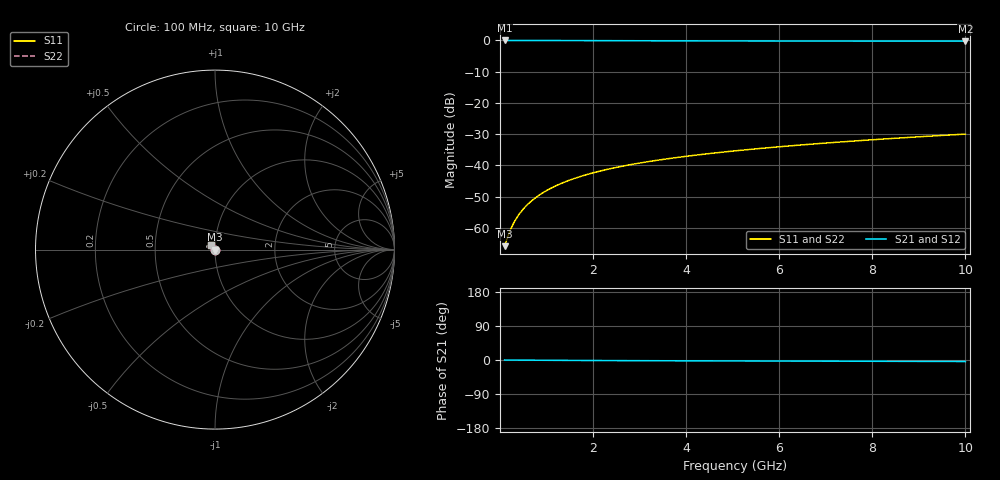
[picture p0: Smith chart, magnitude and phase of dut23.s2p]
! Touchstone file exported from HFSS 2024.1.0
!  File:  C:/UserFiles/LocalFiles/RDL_TSV_Batchsim/temp_TSV1_23_1779369263.aedt
!  Generated:  09:19:10 PM May 21, 2026
!  Design:  TSV1
!  Project:  temp_TSV1_23_1779369263
!  Setup:  Setup1
!  Solution:  Sweep
! Variables:
!  dtsv = 5.74um
!  hbump = 3um
!  htsv = 51.97um
!  lrdl = 252.1521522um
!  p = 40
!  p1 = 57.11um
!  t = 500um
!  trdl = 3um
!  wrdl = 24.89489489um
# GHz S MA R 50.000000
! Terminal data exported
! Port[1] = TSV22_T1
! Port[2] = TSV22_T2
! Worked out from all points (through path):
!   100 points, 100 MHz to 10 GHz, reference 50 ohm
!   highest |S21| = 0.00 dB at 100 MHz (marker M1); lowest = -0.2 dB at 10 GHz (marker M2)
!   lowest |S11| = -65.8 dB at 100 MHz (marker M3), VSWR 1.00, Z = 50 - j0.0408 ohm
!   |S11| at or under -10 dB: start of sweep to end of sweep
!   |S22| runs from -65.8 to -30.0 dB; largest |S21 - S12| = 0
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0.1  0.0005107 -52.9  0.9996 -0.1  0.9996 -0.1  0.0005107 -52.9
! Gamma 0 0 0 0
! Port Impedance 50 0 50 0
0.2  0.0008492 -73.5  0.9996 -0.2  0.9996 -0.2  0.0008492 -73.5
0.3  0.001225 -83.7  0.9995 -0.2  0.9995 -0.2  0.001225 -83.7
0.4  0.001613 -90.4  0.9993 -0.3  0.9993 -0.3  0.001613 -90.4
0.5  0.002005 -95.6  0.9991 -0.4  0.9991 -0.4  0.002005 -95.6
0.6  0.002399 -99.9  0.9989 -0.5  0.9989 -0.5  0.002399 -99.9
0.7  0.002791 -103.7  0.9986 -0.5  0.9986 -0.5  0.002791 -103.7
0.8  0.003182 -107.3  0.9983 -0.6  0.9983 -0.6  0.003182 -107.3
0.9  0.00357 -110.6  0.998 -0.7  0.998 -0.7  0.00357 -110.6
1.1  0.004338 -116.9  0.9973 -0.8  0.9973 -0.8  0.004338 -116.9
1.4  0.005463 -125.5  0.9961 -1.0  0.9961 -1.0  0.005463 -125.5
1.6  0.006194 -130.9  0.9952 -1.1  0.9952 -1.1  0.006194 -130.9
1.8  0.006909 -136.0  0.9942 -1.2  0.9942 -1.2  0.006909 -136.0
2.1  0.007955 -143.2  0.9928 -1.4  0.9928 -1.4  0.007955 -143.2
2.5  0.0093 -152.1  0.9909 -1.6  0.9909 -1.6  0.0093 -152.1
2.9  0.0106 -160.2  0.9891 -1.8  0.9891 -1.8  0.0106 -160.2
3.4  0.01217 -169.3  0.987 -2.0  0.987 -2.0  0.01217 -169.3
4.2  0.01459 178.4  0.9841 -2.2  0.9841 -2.2  0.01459 178.4
5.1  0.01725 167.0  0.9815 -2.5  0.9815 -2.5  0.01725 167.0
6.7  0.02193 151.8  0.9783 -3.0  0.9783 -3.0  0.02193 151.8
8.4  0.02694 140.4  0.9761 -3.5  0.9761 -3.5  0.02694 140.4
10  0.03172 132.4  0.9746 -4.0  0.9746 -4.0  0.03172 132.4
